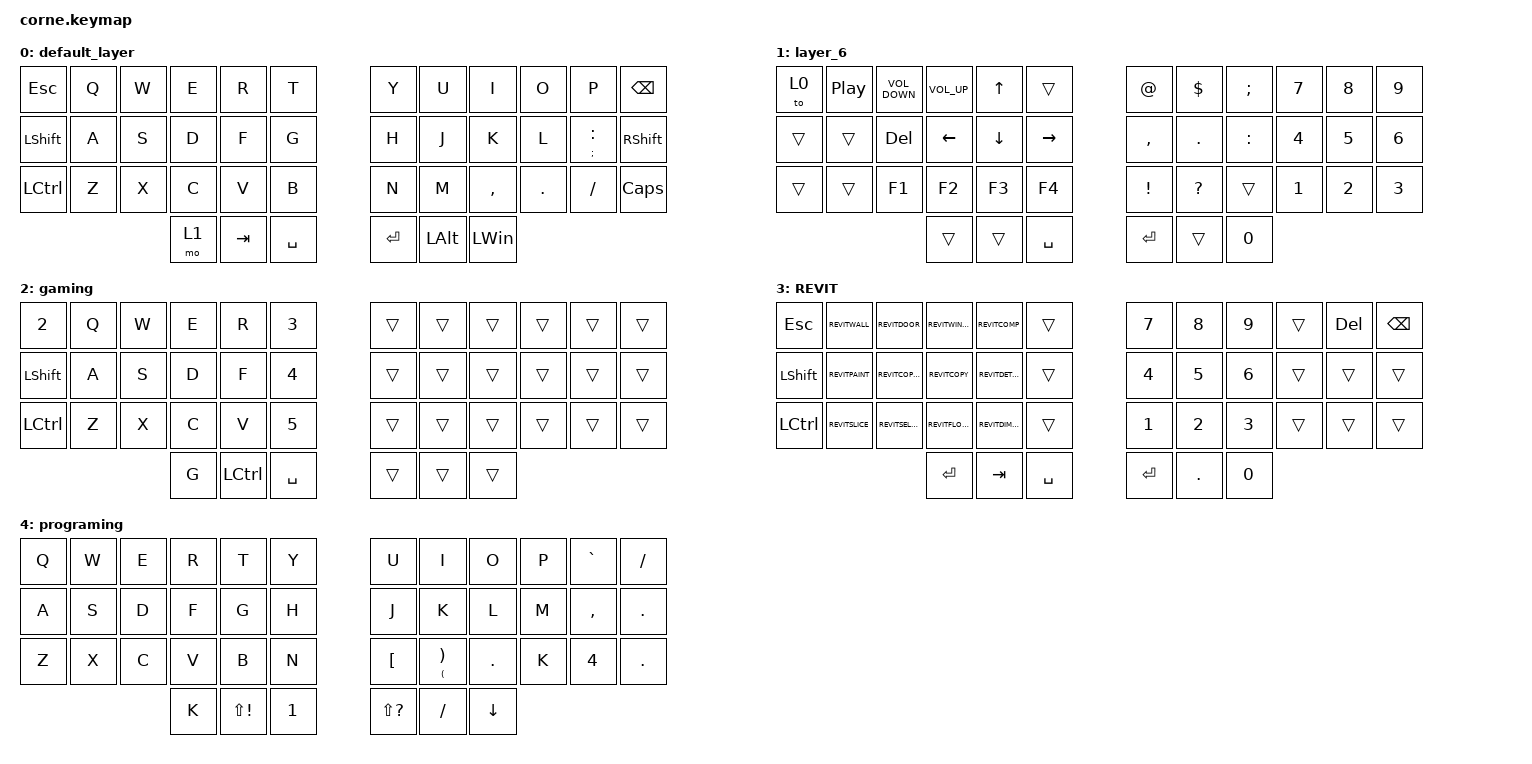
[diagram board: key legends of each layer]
/*
 * Copyright (c) 2020 The ZMK Contributors
 *
 * SPDX-License-Identifier: MIT
 */

#include <behaviors.dtsi>
#include <dt-bindings/zmk/keys.h>

&mt { flavor = "balanced"; };

/ {
    combos {
        compatible = "zmk,combos";

        backspace {
            bindings = <&kp BACKSPACE>;
            key-positions = <5 6>;
        };

        delete {
            bindings = <&kp DELETE>;
            key-positions = <17 18>;
        };

        delete_word {
            bindings = <&kp LC(DELETE)>;
            key-positions = <4 7>;
        };

        TOREVIT {
            bindings = <&tog 3>;
            key-positions = <36 41>;
        };

        qwerty {
            bindings = <&tog 0>;
            key-positions = <37 40>;
        };

        numbermode {
            bindings = <&tog 2>;
            key-positions = <38 39>;
        };

        AGUDO {
            bindings = <&kp APOS>;
            key-positions = <12 10>;
        };

        CIRCUNFLEXO {
            bindings = <&kp CARET>;
            key-positions = <12 34>;
        };

        TIL {
            bindings = <&kp TILDE>;
            key-positions = <12 22>;
        };

        gamemode {
            bindings = <&none>;
            key-positions = <12 37>;
        };
    };

    behaviors {
        hold_tap_layer: hold_tap_layer {
            compatible = "zmk,behavior-hold-tap";
            label = "HOLD_TAP_LAYER";
            bindings = <&mo>, <&sl>;

            #binding-cells = <2>;
            tapping-term-ms = <200>;
            flavor = "balanced";
        };
    };

    macros {
        REVITWALL: REVIT1 {
            compatible = "zmk,behavior-macro";
            #binding-cells = <0>;
            bindings = <&kp W &kp A>;
            label = "REVIT1";
        };

        REVITDOOR: REVITDOOR {
            compatible = "zmk,behavior-macro";
            #binding-cells = <0>;
            bindings = <&kp D &kp R>;
            label = "REVITDOOR";
        };

        REVITWINDOW: REVITWINDOW {
            compatible = "zmk,behavior-macro";
            #binding-cells = <0>;
            bindings = <&kp W &kp N>;
            label = "REVITWINDOW";
        };

        REVITPAINT: REVITPAINT {
            compatible = "zmk,behavior-macro";
            #binding-cells = <0>;
            bindings = <&kp P &kp T>;
            label = "REVITPAINT";
        };

        REVITCOPYS: REVITCOPYS {
            compatible = "zmk,behavior-macro";
            #binding-cells = <0>;
            bindings = <&kp C &kp S>;
            label = "REVITCOPYS";
        };

        REVITCOPY: REVITCOPY {
            compatible = "zmk,behavior-macro";
            #binding-cells = <0>;
            bindings = <&kp C &kp C>;
            label = "REVITCOPY";
        };

        REVITSLICE: REVITSLICE {
            compatible = "zmk,behavior-macro";
            #binding-cells = <0>;
            bindings = <&kp S &kp L>;
            label = "REVITSLICE";
        };

        REVITSELPLAN: REVITSELPLAN {
            compatible = "zmk,behavior-macro";
            #binding-cells = <0>;
            bindings = <&kp P &kp K>;
            label = "REVITSELPLAN";
        };

        REVITFLOOR: REVITFLOOR {
            compatible = "zmk,behavior-macro";
            #binding-cells = <0>;
            bindings = <&kp F &kp L>;
            label = "REVITFLOOR";
        };

        REVITCOMP: REVITCOMP {
            compatible = "zmk,behavior-macro";
            #binding-cells = <0>;
            bindings = <&kp C &kp M>;
            label = "REVITCOMP";
        };

        REVITDETAILLINE: REVITDETAILLINE {
            compatible = "zmk,behavior-macro";
            #binding-cells = <0>;
            bindings = <&kp D &kp L>;
            label = "REVITDETAILLINE";
        };

        REVITDIMENSION: REVITDIMENSION {
            compatible = "zmk,behavior-macro";
            #binding-cells = <0>;
            bindings = <&kp D &kp M>;
            label = "REVITDIMENSION";
        };
    };

    keymap {
        compatible = "zmk,keymap";

        default_layer {
            // -----------------------------------------------------------------------------------------
            // |  TAB |  Q  |  W  |  E  |  R  |  T  |   |  Y  |  U   |  I  |  O  |  P  | BKSP |
            // | CTRL |  A  |  S  |  D  |  F  |  G  |   |  H  |  J   |  K  |  L  |  ;  |  '   |
            // | SHFT |  Z  |  X  |  C  |  V  |  B  |   |  N  |  M   |  ,  |  .  |  /  | ESC  |
            //                    | GUI | LWR | SPC |   | ENT | RSE  | ALT |

            bindings = <
&kp ESC           &kp Q  &kp W  &kp E  &kp R    &kp T        &kp Y      &kp U         &kp I         &kp O    &kp P                &kp BACKSPACE
&kp LSHFT         &kp A  &kp S  &kp D  &kp F    &kp G        &kp H      &kp J         &kp K         &kp L    &mt SEMICOLON COLON  &kp RIGHT_SHIFT
&kp LEFT_CONTROL  &kp Z  &kp X  &kp C  &kp V    &kp B        &kp N      &kp M         &kp COMMA     &kp DOT  &kp FSLH             &kp CAPS
                                &mo 1  &kp TAB  &kp SPACE    &kp ENTER  &kp LEFT_ALT  &kp LEFT_WIN
            >;
        };

        layer_6 {
            bindings = <
&to 0   &kp C_PP  &kp C_VOLUME_DOWN  &kp C_VOLUME_UP  &kp UP_ARROW    &trans       &kp AT_SIGN  &kp DOLLAR    &kp SEMI      &kp N7  &kp N8  &kp N9
&trans  &trans    &kp DELETE         &kp LEFT         &kp DOWN_ARROW  &kp RIGHT    &kp COMMA    &kp DOT       &kp COLON     &kp N4  &kp N5  &kp N6
&trans  &trans    &kp F1             &kp F2           &kp F3          &kp F4       &kp EXCL     &kp QUESTION  &trans        &kp N1  &kp N2  &kp N3
                                     &trans           &trans          &kp SPACE    &kp ENTER    &trans        &kp NUMBER_0
            >;
        };

        gaming {
            bindings = <
&kp N2            &kp Q  &kp W  &kp E  &kp R             &kp N3       &trans  &trans  &trans  &trans  &trans  &trans
&kp LEFT_SHIFT    &kp A  &kp S  &kp D  &kp F             &kp N4       &trans  &trans  &trans  &trans  &trans  &trans
&kp LEFT_CONTROL  &kp Z  &kp X  &kp C  &kp V             &kp N5       &trans  &trans  &trans  &trans  &trans  &trans
                                &kp G  &kp LEFT_CONTROL  &kp SPACE    &trans  &trans  &trans
            >;
        };

        REVIT {
            bindings = <
&kp ESC           &REVITWALL   &REVITDOOR     &REVITWINDOW  &REVITCOMP        &trans       &kp N7     &kp N8   &kp N9  &trans  &kp DEL  &kp BSPC
&kp LEFT_SHIFT    &REVITPAINT  &REVITCOPYS    &REVITCOPY    &REVITDETAILLINE  &trans       &kp N4     &kp N5   &kp N6  &trans  &trans   &trans
&kp LEFT_CONTROL  &REVITSLICE  &REVITSELPLAN  &REVITFLOOR   &REVITDIMENSION   &trans       &kp N1     &kp N2   &kp N3  &trans  &trans   &trans
                                              &kp ENTER     &kp TAB           &kp SPACE    &kp ENTER  &kp DOT  &kp N0
            >;
        };

        programing {
            bindings = <
&kp Q  &kp W  &kp E  &kp R  &kp T         &kp Y     &kp U          &kp I                                   &kp O     &kp P  &kp GRAVE  &kp FSLH
&kp A  &kp S  &kp D  &kp F  &kp G         &kp H     &kp J          &kp K                                   &kp L     &kp M  &kp COMMA  &kp DOT
&kp Z  &kp X  &kp C  &kp V  &kp B         &kp N     &kp LBKT       &mt LEFT_PARENTHESIS RIGHT_PARENTHESIS  &kp DOT   &kp K  &kp N4     &kp DOT
                     &kp K  &kp LS(EXCL)  &kp N1    &kp LS(QMARK)  &kp FSLH                                &kp DOWN
            >;
        };
    };

    conditional_layers {
        compatible = "zmk,conditional-layers";

        functions {
            if-layers = <1 1>;
            then-layer = <1>;
        };
    };
};
